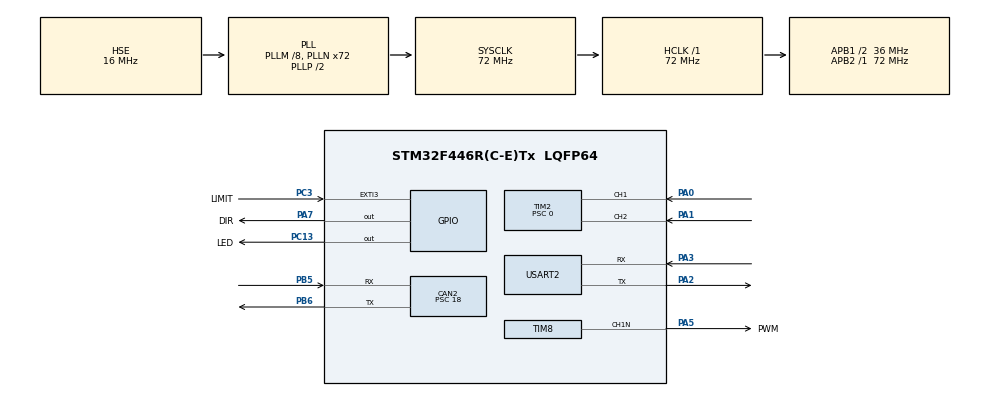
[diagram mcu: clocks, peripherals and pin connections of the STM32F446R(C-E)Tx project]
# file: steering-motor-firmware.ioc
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CAN2.BS1=CAN_BS1_2TQ
CAN2.CalculateBaudRate=500000
CAN2.CalculateTimeBit=2000
CAN2.CalculateTimeQuantum=500.0
CAN2.Prescaler=18
Mcu.Family=STM32F4
Mcu.Name=STM32F446R(C-E)Tx
Mcu.Package=LQFP64
NVIC.CAN2_RX0_IRQn=true\:0\:0\:false\:false\:true\:true\:true\:true
NVIC.CAN2_RX1_IRQn=true\:0\:0\:false\:false\:true\:true\:true\:true
NVIC.EXTI3_IRQn=true\:0\:0\:false\:false\:true\:true\:true\:true
NVIC.PriorityGroup=NVIC_PRIORITYGROUP_4
NVIC.TIM8_BRK_TIM12_IRQn=true\:0\:0\:false\:false\:true\:true\:true\:true
NVIC.TIM8_UP_TIM13_IRQn=true\:0\:0\:false\:false\:true\:true\:true\:true
PA0-WKUP.Signal=S_TIM2_CH1_ETR
PA1.Signal=S_TIM2_CH2
PA13.Mode=Serial_Wire
PA13.Signal=SYS_JTMS-SWDIO
PA14.Mode=Serial_Wire
PA14.Signal=SYS_JTCK-SWCLK
PA2.Mode=Asynchronous
PA2.Signal=USART2_TX
PA3.Mode=Asynchronous
PA3.Signal=USART2_RX
PA5.GPIO_Label=PWM
PA5.Mode=PWM Generation1 CH1N
PA5.Signal=TIM8_CH1N
PA7.GPIO_Label=DIR
PA7.Signal=GPIO_Output
PB5.Mode=CAN_Activate
PB5.Signal=CAN2_RX
PB6.Mode=CAN_Activate
PB6.Signal=CAN2_TX
PC13.GPIO_Label=LED
PC13.Signal=GPIO_Output
PC3.GPIO_Label=LIMIT
PC3.GPIO_ModeDefaultEXTI=GPIO_MODE_IT_FALLING
PC3.GPIO_PuPd=GPIO_PULLUP
PC3.Signal=GPXTI3
PH0-OSC_IN.Mode=HSE-External-Oscillator
PH0-OSC_IN.Signal=RCC_OSC_IN
PH1-OSC_OUT.Mode=HSE-External-Oscillator
PH1-OSC_OUT.Signal=RCC_OSC_OUT
ProjectManager.HeapSize=0x200
ProjectManager.StackSize=0x400
ProjectManager.TargetToolchain=STM32CubeIDE
RCC.AHBFreq_Value=72000000
RCC.APB1CLKDivider=RCC_HCLK_DIV2
RCC.APB1Freq_Value=36000000
RCC.APB1TimFreq_Value=72000000
RCC.APB2Freq_Value=72000000
RCC.APB2TimFreq_Value=72000000
RCC.CortexFreq_Value=72000000
RCC.HCLKFreq_Value=72000000
RCC.HSE_VALUE=16000000
RCC.PLLM=8
RCC.PLLN=72
RCC.PLLSourceVirtual=RCC_PLLSOURCE_HSE
RCC.SYSCLKFreq_VALUE=72000000
RCC.SYSCLKSource=RCC_SYSCLKSOURCE_PLLCLK
RCC.USBFreq_Value=72000000
RCC.VCOOutputFreq_Value=144000000
SH.S_TIM2_CH1_ETR.0=TIM2_CH1,Encoder_Interface
SH.S_TIM2_CH2.0=TIM2_CH2,Encoder_Interface
TIM1.Prescaler=16-1
TIM2.EncoderMode=TIM_ENCODERMODE_TI12
TIM2.Period=65535
TIM2.Prescaler=0
TIM8.Channel-PWM\ Generation1\ CH1=TIM_CHANNEL_1
TIM8.Channel-PWM\ Generation1\ CH1\ CH1N=TIM_CHANNEL_1
TIM8.Channel-PWM\ Generation1\ CH1N=TIM_CHANNEL_1
TIM8.Period=99
TIM8.Prescaler=15
USART2.VirtualMode=VM_ASYNC
VP_TIM1_VS_ClockSourceINT.Mode=Internal
VP_TIM5_VS_ClockSourceINT.Mode=Internal
VP_TIM8_VS_ClockSourceINT.Mode=Internal
board=custom

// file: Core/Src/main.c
/* USER CODE BEGIN Header */
/**
  ******************************************************************************
  * @file           : main.c
  * @brief          : Main program body
  ******************************************************************************
  * @attention
  *
  * Copyright (c) 2025 STMicroelectronics.
  * All rights reserved.
  *
  * This software is licensed under terms that can be found in the LICENSE file
  * in the root directory of this software component.
  * If no LICENSE file comes with this software, it is provided AS-IS.
  *
  ******************************************************************************
  */
/* USER CODE END Header */
#include "main.h"
#include "CAN_processing.h"

CAN_HandleTypeDef hcan2;

TIM_HandleTypeDef htim1;
TIM_HandleTypeDef htim2;
TIM_HandleTypeDef htim5;
TIM_HandleTypeDef htim8;

UART_HandleTypeDef huart2;

/* USER CODE BEGIN PV */
volatile int on_off  = 0;
/* USER CODE END PV */

void SystemClock_Config(void);
static void MX_GPIO_Init(void);
static void MX_TIM2_Init(void);
static void MX_TIM5_Init(void);
static void MX_TIM8_Init(void);
static void MX_TIM1_Init(void);
static void MX_CAN2_Init(void);
static void MX_USART2_UART_Init(void);
/* USER CODE BEGIN PFP */
#define PUTCHAR_PROTOTYPE int __io_putchar(int ch)

// Tony: Defining the parameters needed for sending a can message to our steering board
#define MASTER_TRANSMITTER    1
#define ACTION_RUN           0
#define SINGLE_MOTOR         0
#define STEERING_MOTOR       1
#define RUN_SPEED            2
#define TARGET_ESC_ID        1
/* USER CODE END PFP */

/* USER CODE BEGIN 0 */
#include "encoder.h"
#include "motor.h"
#include "pid.h"

CAN_TxHeaderTypeDef TxHeader;
CAN_RxHeaderTypeDef RxHeader;
uint32_t TxMailbox;
uint8_t TxData[8];
uint8_t RxData[8];
int datacheck = 0;

// putting some CAN receiving code here //

//void HAL_CAN_RxFifo0MsgPendingCallback(CAN_HandleTypeDef *hcan) {
//	HAL_CAN_GetRxMessage(hcan, CAN_RX_FIFO0, &RxHeader, RxData);
//	if (RxHeader.DLC == 2) {
//		datacheck = 1;
//	}
//}

void HAL_CAN_RxFifo0MsgPendingCallback(CAN_HandleTypeDef *hcan) {
    // Keep reading until FIFO is empty, but only keep the last message
    while (HAL_CAN_GetRxFifoFillLevel(hcan, CAN_RX_FIFO0) > 0) {
        HAL_CAN_GetRxMessage(hcan, CAN_RX_FIFO0, &RxHeader, RxData);
    }
    datacheck = 1;
}
/* USER CODE END 0 */

int main(void)
{

  /* MCU Configuration--------------------------------------------------------*/

  /* Reset of all peripherals, Initializes the Flash interface and the Systick. */
  HAL_Init();

  /* Configure the system clock */
  SystemClock_Config();

  /* Initialize all configured peripherals */
  MX_GPIO_Init();
  MX_TIM2_Init();
  MX_TIM5_Init();
  MX_TIM8_Init();
  MX_TIM1_Init();
  MX_CAN2_Init();
  MX_USART2_UART_Init();
  /* USER CODE BEGIN 2 */

// Tony: Here is the creation of the CAN ID that I am transmitting to our board from
  uint16_t canId = (MASTER_TRANSMITTER << 10) |    // Bit 10: Sender
                   (ACTION_RUN << 9) |             // Bit 9: Action type
                   (SINGLE_MOTOR << 8) |           // Bit 8: Single/Multi
                   (STEERING_MOTOR << 7) |         // Bit 7: Motor type
                   (RUN_SPEED << 4) |              // Bits 6-4: Command spec
                   (TARGET_ESC_ID);                // Bits 3-0: Device ID

//  HAL_GPIO_TogglePin(LED_GPIO_Port, LED_Pin);
  HAL_TIM_Encoder_Start(&htim2, TIM_CHANNEL_ALL);
  HAL_TIMEx_PWMN_Start(&htim8, TIM_CHANNEL_1);
  set_motor_speed(0);
  set_motor_direction(1);
  TIM2->CNT = 0;
//  double goal = 3.14/2; //Tony: These are commented out because I need this board to receive custom commands,
//  setPIDGoalA(goal); // not make up its own

  /* CAN initialization below */
  CAN_FilterTypeDef canfilterconfig;

    canfilterconfig.FilterActivation = CAN_FILTER_ENABLE;
    canfilterconfig.FilterBank = 10;  // anything between 0 to SlaveStartFilterBank
    canfilterconfig.FilterFIFOAssignment = CAN_FILTER_FIFO0;
    canfilterconfig.FilterIdHigh = 0x123<<5;
  //  canfilterconfig.FilterIdHigh = 0x0000;
    canfilterconfig.FilterIdLow = 0x0000; // comment out if we don't need filter in the end
    canfilterconfig.FilterMaskIdHigh = 0x7FF<<5;
  //  canfilterconfig.FilterMaskIdHigh = 0x0;
    canfilterconfig.FilterMaskIdLow = 0x0; // all filters may be 0000. Figure out later.
    canfilterconfig.FilterMode = CAN_FILTERMODE_IDMASK;
    canfilterconfig.FilterScale = CAN_FILTERSCALE_32BIT;
    canfilterconfig.SlaveStartFilterBank = 0;  // 13 to 27 are assigned to slave CAN (CAN 2) OR 0 to 12 are assgned to CAN1

  HAL_CAN_ConfigFilter(&hcan2, &canfilterconfig);
  HAL_CAN_Start(&hcan2);
  HAL_CAN_ActivateNotification(&hcan2, CAN_IT_RX_FIFO0_MSG_PENDING);
  TxHeader.DLC = 4; //changed to four for float
  TxHeader.ExtId = 0;
  TxHeader.IDE = CAN_ID_STD;
  TxHeader.RTR = CAN_RTR_DATA;
//  TxHeader.StdId = 0x466; //Tony: I changed this to the ID above
  TxHeader.StfId = canId;

  /* USER CODE END 2 */

  /* Infinite loop */
  /* USER CODE BEGIN WHILE */
  while (1){

//	  HAL_Delay(2000);
//	  goal = goal + 3.14/4;
//	  goal = fmod(goal, 2*3.14); //Tony: This code was for when the board was making up its
//	  setPIDGoalA(goal); // own direction to go. Not anymore, that's cringe now.

//	  print("%d\n\r", );
	  /*HAL_GPIO_TogglePin(LED_GPIO_Port, LED_Pin);
	  HAL_Delay(1000);*/

//	  TxData[0] = 100;
//	  HAL_Delay(500);
//	  TxData[1] = 10;
//
//
//	  HAL_CAN_AddTxMessage(&hcan2, &TxHeader, TxData, &TxMailbox);

//	  HAL_GPIO_TogglePin(LED_GPIO_Port, LED_Pin);
//	  setPIDGoalA(90);
//	  HAL_Delay(500);
//	  setPIDGoalA(180);
//	  HAL_Delay(500);
//	  setPIDGoalA(0);
//	  HAL_Delay(500);
//	  HAL_GPIO_TogglePin(LED_GPIO_Port, LED_Pin);
//	  HAL_Delay(500);

	  if (datacheck) {

		  CAN_Parse_MSG (RxHeader, RxData);

		  for(int i = 0; i < RxData[1]; i++) {
			  HAL_GPIO_TogglePin(LED_GPIO_Port, LED_Pin);
			  HAL_Delay(RxData[0]);
		  }
		  datacheck = 0;
	  }
    /* USER CODE END WHILE */

  }
}

void SystemClock_Config(void)
{
  RCC_OscInitTypeDef RCC_OscInitStruct = {0};
  RCC_ClkInitTypeDef RCC_ClkInitStruct = {0};

  /** Configure the main internal regulator output voltage
  */
  __HAL_RCC_PWR_CLK_ENABLE();
  __HAL_PWR_VOLTAGESCALING_CONFIG(PWR_REGULATOR_VOLTAGE_SCALE3);

  /** Initializes the RCC Oscillators according to the specified parameters
  * in the RCC_OscInitTypeDef structure.
  */
  RCC_OscInitStruct.OscillatorType = RCC_OSCILLATORTYPE_HSE;
  RCC_OscInitStruct.HSEState = RCC_HSE_ON;
  RCC_OscInitStruct.PLL.PLLState = RCC_PLL_ON;
  RCC_OscInitStruct.PLL.PLLSource = RCC_PLLSOURCE_HSE;
  RCC_OscInitStruct.PLL.PLLM = 8;
  RCC_OscInitStruct.PLL.PLLN = 72;
  RCC_OscInitStruct.PLL.PLLP = RCC_PLLP_DIV2;
  RCC_OscInitStruct.PLL.PLLQ = 2;
  RCC_OscInitStruct.PLL.PLLR = 2;
  if (HAL_RCC_OscConfig(&RCC_OscInitStruct) != HAL_OK)
  {
    Error_Handler();
  }

  /** Initializes the CPU, AHB and APB buses clocks
  */
  RCC_ClkInitStruct.ClockType = RCC_CLOCKTYPE_HCLK|RCC_CLOCKTYPE_SYSCLK
                              |RCC_CLOCKTYPE_PCLK1|RCC_CLOCKTYPE_PCLK2;
  RCC_ClkInitStruct.SYSCLKSource = RCC_SYSCLKSOURCE_PLLCLK;
  RCC_ClkInitStruct.AHBCLKDivider = RCC_SYSCLK_DIV1;
  RCC_ClkInitStruct.APB1CLKDivider = RCC_HCLK_DIV2;
  RCC_ClkInitStruct.APB2CLKDivider = RCC_HCLK_DIV1;

  if (HAL_RCC_ClockConfig(&RCC_ClkInitStruct, FLASH_LATENCY_2) != HAL_OK)
  {
    Error_Handler();
  }
}

static void MX_CAN2_Init(void)
{

  hcan2.Instance = CAN2;
  hcan2.Init.Prescaler = 18;
  hcan2.Init.Mode = CAN_MODE_NORMAL;
  hcan2.Init.SyncJumpWidth = CAN_SJW_1TQ;
  hcan2.Init.TimeSeg1 = CAN_BS1_2TQ;
  hcan2.Init.TimeSeg2 = CAN_BS2_1TQ;
  hcan2.Init.TimeTriggeredMode = DISABLE;
  hcan2.Init.AutoBusOff = DISABLE;
  hcan2.Init.AutoWakeUp = DISABLE;
  hcan2.Init.AutoRetransmission = DISABLE;
  hcan2.Init.ReceiveFifoLocked = DISABLE;
  hcan2.Init.TransmitFifoPriority = DISABLE;
  if (HAL_CAN_Init(&hcan2) != HAL_OK)
  {
    Error_Handler();
  }

}

static void MX_TIM1_Init(void)
{

  TIM_ClockConfigTypeDef sClockSourceConfig = {0};
  TIM_MasterConfigTypeDef sMasterConfig = {0};

  htim1.Instance = TIM1;
  htim1.Init.Prescaler = 16-1;
  htim1.Init.CounterMode = TIM_COUNTERMODE_UP;
  htim1.Init.Period = 65535;
  htim1.Init.ClockDivision = TIM_CLOCKDIVISION_DIV1;
  htim1.Init.RepetitionCounter = 0;
  htim1.Init.AutoReloadPreload = TIM_AUTORELOAD_PRELOAD_DISABLE;
  if (HAL_TIM_Base_Init(&htim1) != HAL_OK)
  {
    Error_Handler();
  }
  sClockSourceConfig.ClockSource = TIM_CLOCKSOURCE_INTERNAL;
  if (HAL_TIM_ConfigClockSource(&htim1, &sClockSourceConfig) != HAL_OK)
  {
    Error_Handler();
  }
  sMasterConfig.MasterOutputTrigger = TIM_TRGO_RESET;
  sMasterConfig.MasterSlaveMode = TIM_MASTERSLAVEMODE_DISABLE;
  if (HAL_TIMEx_MasterConfigSynchronization(&htim1, &sMasterConfig) != HAL_OK)
  {
    Error_Handler();
  }

}

static void MX_TIM2_Init(void)
{

  TIM_Encoder_InitTypeDef sConfig = {0};
  TIM_MasterConfigTypeDef sMasterConfig = {0};

  htim2.Instance = TIM2;
  htim2.Init.Prescaler = 0;
  htim2.Init.CounterMode = TIM_COUNTERMODE_UP;
  htim2.Init.Period = 65535;
  htim2.Init.ClockDivision = TIM_CLOCKDIVISION_DIV1;
  htim2.Init.AutoReloadPreload = TIM_AUTORELOAD_PRELOAD_DISABLE;
  sConfig.EncoderMode = TIM_ENCODERMODE_TI12;
  sConfig.IC1Polarity = TIM_ICPOLARITY_RISING;
  sConfig.IC1Selection = TIM_ICSELECTION_DIRECTTI;
  sConfig.IC1Prescaler = TIM_ICPSC_DIV1;
  sConfig.IC1Filter = 0;
  sConfig.IC2Polarity = TIM_ICPOLARITY_RISING;
  sConfig.IC2Selection = TIM_ICSELECTION_DIRECTTI;
  sConfig.IC2Prescaler = TIM_ICPSC_DIV1;
  sConfig.IC2Filter = 0;
  if (HAL_TIM_Encoder_Init(&htim2, &sConfig) != HAL_OK)
  {
    Error_Handler();
  }
  sMasterConfig.MasterOutputTrigger = TIM_TRGO_RESET;
  sMasterConfig.MasterSlaveMode = TIM_MASTERSLAVEMODE_DISABLE;
  if (HAL_TIMEx_MasterConfigSynchronization(&htim2, &sMasterConfig) != HAL_OK)
  {
    Error_Handler();
  }

}

static void MX_TIM5_Init(void)
{

  TIM_ClockConfigTypeDef sClockSourceConfig = {0};
  TIM_MasterConfigTypeDef sMasterConfig = {0};

  htim5.Instance = TIM5;
  htim5.Init.Prescaler = 0;
  htim5.Init.CounterMode = TIM_COUNTERMODE_UP;
  htim5.Init.Period = 4294967295;
  htim5.Init.ClockDivision = TIM_CLOCKDIVISION_DIV1;
  htim5.Init.AutoReloadPreload = TIM_AUTORELOAD_PRELOAD_DISABLE;
  if (HAL_TIM_Base_Init(&htim5) != HAL_OK)
  {
    Error_Handler();
  }
  sClockSourceConfig.ClockSource = TIM_CLOCKSOURCE_INTERNAL;
  if (HAL_TIM_ConfigClockSource(&htim5, &sClockSourceConfig) != HAL_OK)
  {
    Error_Handler();
  }
  sMasterConfig.MasterOutputTrigger = TIM_TRGO_RESET;
  sMasterConfig.MasterSlaveMode = TIM_MASTERSLAVEMODE_DISABLE;
  if (HAL_TIMEx_MasterConfigSynchronization(&htim5, &sMasterConfig) != HAL_OK)
  {
    Error_Handler();
  }

}

static void MX_TIM8_Init(void)
{

  TIM_ClockConfigTypeDef sClockSourceConfig = {0};
  TIM_MasterConfigTypeDef sMasterConfig = {0};
  TIM_OC_InitTypeDef sConfigOC = {0};
  TIM_BreakDeadTimeConfigTypeDef sBreakDeadTimeConfig = {0};

  htim8.Instance = TIM8;
  htim8.Init.Prescaler = 15;
  htim8.Init.CounterMode = TIM_COUNTERMODE_UP;
  htim8.Init.Period = 99;
  htim8.Init.ClockDivision = TIM_CLOCKDIVISION_DIV1;
  htim8.Init.RepetitionCounter = 0;
  htim8.Init.AutoReloadPreload = TIM_AUTORELOAD_PRELOAD_DISABLE;
  if (HAL_TIM_Base_Init(&htim8) != HAL_OK)
  {
    Error_Handler();
  }
  sClockSourceConfig.ClockSource = TIM_CLOCKSOURCE_INTERNAL;
  if (HAL_TIM_ConfigClockSource(&htim8, &sClockSourceConfig) != HAL_OK)
  {
    Error_Handler();
  }
  if (HAL_TIM_PWM_Init(&htim8) != HAL_OK)
  {
    Error_Handler();
  }
  sMasterConfig.MasterOutputTrigger = TIM_TRGO_RESET;
  sMasterConfig.MasterSlaveMode = TIM_MASTERSLAVEMODE_DISABLE;
  if (HAL_TIMEx_MasterConfigSynchronization(&htim8, &sMasterConfig) != HAL_OK)
  {
    Error_Handler();
  }
  sConfigOC.OCMode = TIM_OCMODE_PWM1;
  sConfigOC.Pulse = 0;
  sConfigOC.OCPolarity = TIM_OCPOLARITY_HIGH;
  sConfigOC.OCNPolarity = TIM_OCNPOLARITY_HIGH;
  sConfigOC.OCFastMode = TIM_OCFAST_DISABLE;
  sConfigOC.OCIdleState = TIM_OCIDLESTATE_RESET;
  sConfigOC.OCNIdleState = TIM_OCNIDLESTATE_RESET;
  if (HAL_TIM_PWM_ConfigChannel(&htim8, &sConfigOC, TIM_CHANNEL_1) != HAL_OK)
  {
    Error_Handler();
  }
  sBreakDeadTimeConfig.OffStateRunMode = TIM_OSSR_DISABLE;
  sBreakDeadTimeConfig.OffStateIDLEMode = TIM_OSSI_DISABLE;
  sBreakDeadTimeConfig.LockLevel = TIM_LOCKLEVEL_OFF;
  sBreakDeadTimeConfig.DeadTime = 0;
  sBreakDeadTimeConfig.BreakState = TIM_BREAK_DISABLE;
  sBreakDeadTimeConfig.BreakPolarity = TIM_BREAKPOLARITY_HIGH;
  sBreakDeadTimeConfig.AutomaticOutput = TIM_AUTOMATICOUTPUT_DISABLE;
  if (HAL_TIMEx_ConfigBreakDeadTime(&htim8, &sBreakDeadTimeConfig) != HAL_OK)
  {
    Error_Handler();
  }
  HAL_TIM_MspPostInit(&htim8);

}

static void MX_USART2_UART_Init(void)
{

  huart2.Instance = USART2;
  huart2.Init.BaudRate = 115200;
  huart2.Init.WordLength = UART_WORDLENGTH_8B;
  huart2.Init.StopBits = UART_STOPBITS_1;
  huart2.Init.Parity = UART_PARITY_NONE;
  huart2.Init.Mode = UART_MODE_TX_RX;
  huart2.Init.HwFlowCtl = UART_HWCONTROL_NONE;
  huart2.Init.OverSampling = UART_OVERSAMPLING_16;
  if (HAL_UART_Init(&huart2) != HAL_OK)
  {
    Error_Handler();
  }

}

static void MX_GPIO_Init(void)
{
  GPIO_InitTypeDef GPIO_InitStruct = {0};

  /* GPIO Ports Clock Enable */
  __HAL_RCC_GPIOC_CLK_ENABLE();
  __HAL_RCC_GPIOH_CLK_ENABLE();
  __HAL_RCC_GPIOA_CLK_ENABLE();
  __HAL_RCC_GPIOB_CLK_ENABLE();

  /*Configure GPIO pin Output Level */
  HAL_GPIO_WritePin(LED_GPIO_Port, LED_Pin, GPIO_PIN_RESET);

  /*Configure GPIO pin Output Level */
  HAL_GPIO_WritePin(DIR_GPIO_Port, DIR_Pin, GPIO_PIN_RESET);

  /*Configure GPIO pin : LED_Pin */
  GPIO_InitStruct.Pin = LED_Pin;
  GPIO_InitStruct.Mode = GPIO_MODE_OUTPUT_PP;
  GPIO_InitStruct.Pull = GPIO_NOPULL;
  GPIO_InitStruct.Speed = GPIO_SPEED_FREQ_LOW;
  HAL_GPIO_Init(LED_GPIO_Port, &GPIO_InitStruct);

  /*Configure GPIO pin : LIMIT_Pin */
  GPIO_InitStruct.Pin = LIMIT_Pin;
  GPIO_InitStruct.Mode = GPIO_MODE_IT_FALLING;
  GPIO_InitStruct.Pull = GPIO_PULLUP;
  HAL_GPIO_Init(LIMIT_GPIO_Port, &GPIO_InitStruct);

  /*Configure GPIO pin : DIR_Pin */
  GPIO_InitStruct.Pin = DIR_Pin;
  GPIO_InitStruct.Mode = GPIO_MODE_OUTPUT_PP;
  GPIO_InitStruct.Pull = GPIO_NOPULL;
  GPIO_InitStruct.Speed = GPIO_SPEED_FREQ_LOW;
  HAL_GPIO_Init(DIR_GPIO_Port, &GPIO_InitStruct);

  /* EXTI interrupt init*/
  HAL_NVIC_SetPriority(EXTI3_IRQn, 0, 0);
  HAL_NVIC_EnableIRQ(EXTI3_IRQn);

}

/* USER CODE BEGIN 4 */

/**
  * @brief  Retargets the C library printf function to the USART.
  *   None
  * @retval None
  */
PUTCHAR_PROTOTYPE
{
  /* Place your implementation of fputc here */
  /* e.g. write a character to the USART1 and Loop until the end of transmission */
  HAL_UART_Transmit(&huart2, (uint8_t *)&ch, 1, 0xFFFF);

  return ch;
}

void HAL_GPIO_EXTI_Callback(uint16_t GPIO_PIN)
{

  if (GPIO_PIN == LIMIT_Pin)
  {
	  if (!HAL_GPIO_ReadPin (LIMIT_GPIO_Port, LIMIT_Pin)){
		  set_counts(0);
		  setPIDGoalA(3.14/2);
		  TIM2->CNT = 0;
	  }
//	  TIM2->CNT = 0;
	  /*double new_goal = 3*3.14/4.0;
	  printf("%f set new goal\r\n", new_goal);
	  setPIDGoalA(new_goal);*/

	  //Limit switch code
    /* Your code goes here */
  }
}

/* USER CODE END 4 */

void Error_Handler(void)
{
  __disable_irq();
  while (1)
  {
  }
}
